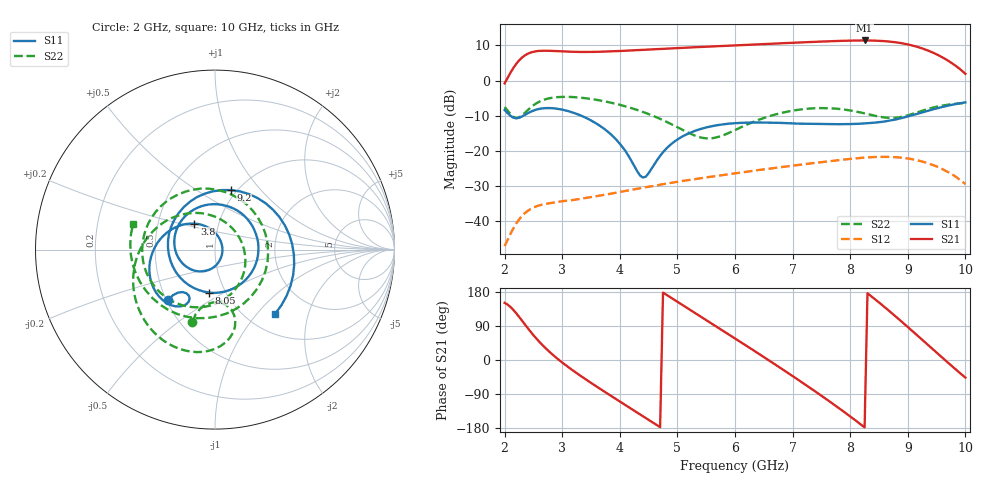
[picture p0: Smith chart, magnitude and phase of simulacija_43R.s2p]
! AWR Design Environment (9138) Sun Nov 27 12:25:02 2022
! Document = 'LNA'
! nPorts: 2, nXvals: 161
# MHz S DB R 50
!Freq DBS11 AngS11 DBS21 AngS21 DBS12 AngS12 DBS22 AngS22
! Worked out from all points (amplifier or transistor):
!   161 points, 2 GHz to 10 GHz, reference 50 ohm
!   highest |S21| = 11.4 dB at 8.25 GHz (marker M1)
!   |S21| within 3 dB of that: 4 GHz to 9.37 GHz (5.37 GHz wide, 80.3 % of centre)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
!   unconditionally stable (mu >= 1): start of sweep to end of sweep
!   at 3.3 GHz: K = 5.86, MAG = 10.3 dB, |S12| = -33.7 dB
!   at 6 GHz: K = 3.02, MAG = 10.5 dB, |S12| = -26.4 dB
!   at 10 GHz: K = 7.13, MAG = 4.2 dB, |S12| = -29.5 dB
!   S11 on the Smith chart (normalised r, x): 2 GHz: 0.51, -0.34; 3.8 GHz: 0.76, +0.23; 8.05 GHz: 0.84, -0.43; 9.2 GHz: 0.94, +0.70; 10 GHz: 1.33, -1.26
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2000  -8.37 -133.0  -0.80 150.9  -47.12 73.4  -7.50 -107.4
2250  -10.60 -119.6  5.72 114.3  -39.53 39.0  -10.52 -83.9
2500  -8.54 -122.1  8.20 65.5  -36.15 -8.0  -7.02 -75.6
2850  -7.89 -148.6  8.43 11.9  -34.72 -59.6  -4.82 -96.8
3350  -10.12 169.6  8.15 -45.0  -33.54 -113.1  -4.91 -129.1
3800  -14.65 128.5  8.29 -90.0  -32.33 -155.2  -6.12 -157.2
4200  -22.80 74.0  8.59 -128.9  -31.10 168.1  -7.83 176.8
4700  -21.41 -84.1  9.02 -177.2  -29.62 123.1  -10.90 139.4
5050  -16.25 -128.3  9.30 148.9  -28.67 91.3  -13.68 105.5
5450  -13.55 -168.4  9.60 110.2  -27.67 55.2  -16.34 49.3
6000  -12.12 137.8  10.01 56.9  -26.40 5.0  -14.05 -33.6
6350  -11.92 102.5  10.27 22.7  -25.59 -27.0  -11.54 -71.2
6700  -12.00 65.5  10.54 -12.1  -24.86 -59.6  -9.65 -103.4
7350  -12.34 -8.0  11.01 -78.4  -23.49 -121.8  -7.89 -161.4
7700  -12.41 -50.9  11.23 -115.7  -22.80 -156.9  -7.92 163.9
8050  -12.34 -97.6  11.39 -154.6  -22.21 166.2  -8.65 123.6
8250  -12.19 -126.7  11.42 -177.8  -21.92 144.1  -9.33 96.1
8700  -11.33 160.6  11.08 126.5  -21.73 91.0  -10.62 17.2
8950  -10.42 117.5  10.46 93.8  -22.05 59.6  -10.11 -32.9
9200  -9.29 75.1  9.43 60.2  -22.80 27.3  -8.84 -79.4
9550  -7.70 19.1  7.06 12.7  -24.79 -18.2  -7.27 -135.0
10000  -6.19 -46.9  1.92 -46.5  -29.47 -75.0  -6.41 162.9
